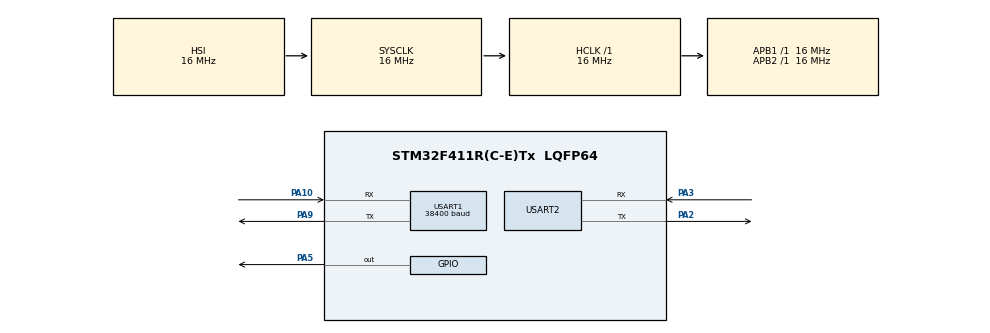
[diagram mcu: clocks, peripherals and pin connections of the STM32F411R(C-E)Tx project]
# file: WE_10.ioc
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Mcu.Family=STM32F4
Mcu.Name=STM32F411R(C-E)Tx
Mcu.Package=LQFP64
NVIC.PriorityGroup=NVIC_PRIORITYGROUP_4
PA10.Mode=Asynchronous
PA10.Signal=USART1_RX
PA2.Mode=Asynchronous
PA2.Signal=USART2_TX
PA3.Mode=Asynchronous
PA3.Signal=USART2_RX
PA5.Signal=GPIO_Output
PA9.Mode=Asynchronous
PA9.Signal=USART1_TX
ProjectManager.HeapSize=0x200
ProjectManager.StackSize=0x400
ProjectManager.TargetToolchain=STM32CubeIDE
RCC.AHBFreq_Value=16000000
RCC.APB1Freq_Value=16000000
RCC.APB2Freq_Value=16000000
RCC.CortexFreq_Value=16000000
RCC.HSE_VALUE=25000000
RCC.HSI_VALUE=16000000
RCC.LSE_VALUE=32768
RCC.SYSCLKFreq_VALUE=16000000
RCC.VCOOutputFreq_Value=192000000
USART1.BaudRate=38400
USART1.VirtualMode=VM_ASYNC
USART2.VirtualMode=VM_ASYNC
board=custom

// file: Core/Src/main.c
/* USER CODE BEGIN Header */
/**
  ******************************************************************************
  * @file           : main.c
  * @brief          : Main program body
  ******************************************************************************
  * @attention
  *
  * Copyright (c) 2023 STMicroelectronics.
  * All rights reserved.
  *
  * This software is licensed under terms that can be found in the LICENSE file
  * in the root directory of this software component.
  * If no LICENSE file comes with this software, it is provided AS-IS.
  *
  ******************************************************************************
  */
/* USER CODE END Header */
#include "main.h"
#include "stdio.h"
#include "string.h"

/* USER CODE BEGIN PD */
#define DBG_UART 1
/* USER CODE END PD */

UART_HandleTypeDef huart1;
UART_HandleTypeDef huart2;

void SystemClock_Config(void);
static void MX_GPIO_Init(void);
static void MX_USART1_UART_Init(void);
static void MX_USART2_UART_Init(void);
/* USER CODE BEGIN PFP */
float temperature = 25.02;

/* USER CODE END PFP */
void WE10_Init (char *, char *);
void MQTT_Init(void);
void mqtt_data_send(void);

int main(void)
{

  /* MCU Configuration--------------------------------------------------------*/

  /* Reset of all peripherals, Initializes the Flash interface and the Systick. */
  HAL_Init();

  /* Configure the system clock */
  SystemClock_Config();

  /* Initialize all configured peripherals */
  MX_GPIO_Init();
  MX_USART1_UART_Init();
  MX_USART2_UART_Init();
  /* USER CODE BEGIN 2 */
  WE10_Init("Dinu","12345678");
  MQTT_Init();

  /* USER CODE END 2 */

  /* Infinite loop */
  while (1)
  {
	   mqtt_data_send();
	   //HAL_Delay(100);

  }
}

int __io_putchar(int ch)
{
	HAL_UART_Transmit(&huart2,(uint8_t *)&ch,1,0xFFFF);
	return 0;
}
void SystemClock_Config(void)
{
  RCC_OscInitTypeDef RCC_OscInitStruct = {0};
  RCC_ClkInitTypeDef RCC_ClkInitStruct = {0};

  /** Configure the main internal regulator output voltage
  */
  __HAL_RCC_PWR_CLK_ENABLE();
  __HAL_PWR_VOLTAGESCALING_CONFIG(PWR_REGULATOR_VOLTAGE_SCALE1);

  /** Initializes the RCC Oscillators according to the specified parameters
  * in the RCC_OscInitTypeDef structure.
  */
  RCC_OscInitStruct.OscillatorType = RCC_OSCILLATORTYPE_HSI;
  RCC_OscInitStruct.HSIState = RCC_HSI_ON;
  RCC_OscInitStruct.HSICalibrationValue = RCC_HSICALIBRATION_DEFAULT;
  RCC_OscInitStruct.PLL.PLLState = RCC_PLL_NONE;
  if (HAL_RCC_OscConfig(&RCC_OscInitStruct) != HAL_OK)
  {
    Error_Handler();
  }

  /** Initializes the CPU, AHB and APB buses clocks
  */
  RCC_ClkInitStruct.ClockType = RCC_CLOCKTYPE_HCLK|RCC_CLOCKTYPE_SYSCLK
                              |RCC_CLOCKTYPE_PCLK1|RCC_CLOCKTYPE_PCLK2;
  RCC_ClkInitStruct.SYSCLKSource = RCC_SYSCLKSOURCE_HSI;
  RCC_ClkInitStruct.AHBCLKDivider = RCC_SYSCLK_DIV1;
  RCC_ClkInitStruct.APB1CLKDivider = RCC_HCLK_DIV1;
  RCC_ClkInitStruct.APB2CLKDivider = RCC_HCLK_DIV1;

  if (HAL_RCC_ClockConfig(&RCC_ClkInitStruct, FLASH_LATENCY_0) != HAL_OK)
  {
    Error_Handler();
  }
}

static void MX_USART1_UART_Init(void)
{

  huart1.Instance = USART1;
  huart1.Init.BaudRate = 38400;
  huart1.Init.WordLength = UART_WORDLENGTH_8B;
  huart1.Init.StopBits = UART_STOPBITS_1;
  huart1.Init.Parity = UART_PARITY_NONE;
  huart1.Init.Mode = UART_MODE_TX_RX;
  huart1.Init.HwFlowCtl = UART_HWCONTROL_NONE;
  huart1.Init.OverSampling = UART_OVERSAMPLING_16;
  if (HAL_UART_Init(&huart1) != HAL_OK)
  {
    Error_Handler();
  }

}

static void MX_USART2_UART_Init(void)
{

  huart2.Instance = USART2;
  huart2.Init.BaudRate = 115200;
  huart2.Init.WordLength = UART_WORDLENGTH_8B;
  huart2.Init.StopBits = UART_STOPBITS_1;
  huart2.Init.Parity = UART_PARITY_NONE;
  huart2.Init.Mode = UART_MODE_TX_RX;
  huart2.Init.HwFlowCtl = UART_HWCONTROL_NONE;
  huart2.Init.OverSampling = UART_OVERSAMPLING_16;
  if (HAL_UART_Init(&huart2) != HAL_OK)
  {
    Error_Handler();
  }

}

static void MX_GPIO_Init(void)
{
  GPIO_InitTypeDef GPIO_InitStruct = {0};

  /* GPIO Ports Clock Enable */
  __HAL_RCC_GPIOA_CLK_ENABLE();

  /*Configure GPIO pin Output Level */
  HAL_GPIO_WritePin(GPIOA, GPIO_PIN_5, GPIO_PIN_RESET);

  /*Configure GPIO pin : PA5 */
  GPIO_InitStruct.Pin = GPIO_PIN_5;
  GPIO_InitStruct.Mode = GPIO_MODE_OUTPUT_PP;
  GPIO_InitStruct.Pull = GPIO_NOPULL;
  GPIO_InitStruct.Speed = GPIO_SPEED_FREQ_LOW;
  HAL_GPIO_Init(GPIOA, &GPIO_InitStruct);

}

/* USER CODE BEGIN 4 */
void WE10_Init (char *SSID, char *PASSWD)
{
	char buffer[128];
	/********* CMD+RESET **********/
	//memset(&buffer[0],0x00,strlen(buffer));
	sprintf (&buffer[0], "CMD+RESET\r\n");
	HAL_UART_Transmit(&huart1, (uint8_t*)buffer, strlen(buffer), 1000);
	HAL_UART_Transmit(&huart2, (uint8_t*)buffer, strlen(buffer), 1000);

	HAL_UART_Receive(&huart1, (uint8_t*)buffer, strlen(buffer), 1000);
	HAL_UART_Transmit(&huart2, (uint8_t*)buffer, strlen(buffer), 1000);

	/*********  CMD+WIFIMODE=1  **********/
	//memset(&buffer[0],0x00,strlen(buffer));
	sprintf (&buffer[0], "CMD+WIFIMODE=1\r\n");
	HAL_UART_Transmit(&huart1, (uint8_t*)buffer, strlen(buffer), 1000);
	HAL_UART_Transmit(&huart2, (uint8_t*)buffer, strlen(buffer), 1000);

	HAL_UART_Receive(&huart1, (uint8_t*)buffer, strlen(buffer), 1000);
	HAL_UART_Transmit(&huart2, (uint8_t*)buffer, strlen(buffer), 1000);
	HAL_Delay(2000);

	/********* CMD+CONTOAP=SSID,PASSWD **********/
	//memset(&buffer[0],0x00,strlen(buffer));
	sprintf (&buffer[0], "CMD+CONTOAP=Dinu,12345678\r\n", SSID, PASSWD);
	HAL_UART_Transmit(&huart1, (uint8_t*)buffer, strlen(buffer), 10000);
	HAL_UART_Transmit(&huart2, (uint8_t*)buffer, strlen(buffer), 10000);
	//memset(&buffer[0],0x00,strlen(buffer));
	HAL_Delay(2000);
	HAL_UART_Receive(&huart1, (uint8_t*)buffer, strlen(buffer), 10000);
	HAL_Delay(500);
	HAL_UART_Transmit(&huart2, (uint8_t*)buffer, strlen(buffer), 10000);

	/********* CMD?WIFI**********/
	//memset(&buffer[0],0x00,strlen(buffer));
	sprintf (&buffer[0], "CMD?WIFI\r\n");
	HAL_UART_Transmit(&huart1, (uint8_t*)buffer, strlen(buffer), 10000);
	HAL_UART_Transmit(&huart2, (uint8_t*)buffer, strlen(buffer), 10000);
//	memset(&buffer[0],0x00,strlen(buffer));
//	HAL_Delay(500);
	HAL_UART_Receive(&huart1, (uint8_t*)buffer, strlen(buffer), 10000);
	HAL_Delay(500);
	HAL_UART_Transmit(&huart2, (uint8_t*)buffer, strlen(buffer), 10000);

}

void MQTT_Init()
{

	char buffer[128];

	/*********CMD+MQTTNETCFG **********/
	//memset(&buffer[0],0x00,strlen(buffer));
	sprintf (&buffer[0], "CMD+MQTTNETCFG=dev.rightech.io,1883\r\n");
	HAL_UART_Transmit(&huart1, (uint8_t*)buffer, strlen(buffer), 10000);
	HAL_UART_Transmit(&huart2, (uint8_t*)buffer, strlen(buffer), 10000);
	//memset(&buffer[0],0x00,strlen(buffer));
	//HAL_Delay(500);
	HAL_UART_Receive(&huart1, (uint8_t*)buffer, strlen(buffer), 10000);
	HAL_Delay(500);
	HAL_UART_Transmit(&huart2, (uint8_t*)buffer, strlen(buffer), 10000);

	/*********CMD+MQTTCONCFG **********/
	//memset(&buffer[0],0x00,strlen(buffer));
	sprintf (&buffer[0], "CMD+MQTTCONCFG=3,mqtt-velikapatidinesh2000-uyz9a3,,,,,,,,,\r\n");
	HAL_UART_Transmit(&huart1, (uint8_t*)buffer, strlen(buffer), 1000);
	HAL_UART_Transmit(&huart2, (uint8_t*)buffer, strlen(buffer), 1000);
	//memset(&buffer[0],0x00,strlen(buffer));
	//HAL_Delay(500);
	HAL_UART_Receive(&huart1, (uint8_t*)buffer, strlen(buffer), 1000);
	HAL_Delay(500);
	HAL_UART_Transmit(&huart2, (uint8_t*)buffer, strlen(buffer), 1000);

	/*********CMD+MQTTSTART **********/
	//memset(&buffer[0],0x00,strlen(buffer));
	sprintf (&buffer[0], "CMD+MQTTSTART=1\r\n");
	HAL_UART_Transmit(&huart1, (uint8_t*)buffer, strlen(buffer), 1000);
	HAL_UART_Transmit(&huart2, (uint8_t*)buffer, strlen(buffer), 1000);
//	memset(&buffer[0],0x00,strlen(buffer));
	HAL_Delay(5000);
	HAL_UART_Receive(&huart1, (uint8_t*)buffer, strlen(buffer), 1000);
	HAL_Delay(500);
	HAL_UART_Transmit(&huart2, (uint8_t*)buffer, strlen(buffer), 1000);

	/*********CMD+MQTTSUB *********/
	//memset(&buffer[0],0x00,strlen(buffer));
	sprintf (&buffer[0], "CMD+MQTTSUB=base/relay/led1\r\n");
	HAL_UART_Transmit(&huart1, (uint8_t*)buffer, strlen(buffer), 1000);
	HAL_UART_Transmit(&huart2, (uint8_t*)buffer, strlen(buffer), 1000);
	HAL_Delay(500);
	HAL_UART_Receive(&huart1, (uint8_t*)buffer, strlen(buffer), 1000);
	HAL_UART_Transmit(&huart2, (uint8_t*)buffer, strlen(buffer), 1000);

}

	void mqtt_data_send()
	{
	    char buffer[50];
	   // sprintf(&buffer[0], "EVT+SUBDATA=base/state/temperature,%.2f\r\n",    Adc.IntSensTmp );

	    sprintf (&buffer[0], "CMD+MQTTPUB=base/state/temperature,%.2f\r\n",temperature);
	    HAL_UART_Transmit(&huart1, (uint8_t*)buffer, strlen(buffer), 1000);

		//HAL_UART_Transmit(&huart1, (uint8_t*)buffer, strlen(buffer), 1000);
		//HAL_UART_Transmit(&huart2, (uint8_t*)buffer, strlen(buffer), 1000);

	    // Your MQTT publish logic here
	    // Replace the following code with your MQTT implementation
	    // For example, if you are using an MQTT library:
	    // mqtt_publish("topic", buffer);

	    // Print the buffer for demonstration purposes
	    printf("%s", buffer);

	}

/* USER CODE END 4 */

void Error_Handler(void)
{
  __disable_irq();
  while (1)
  {
  }
}
